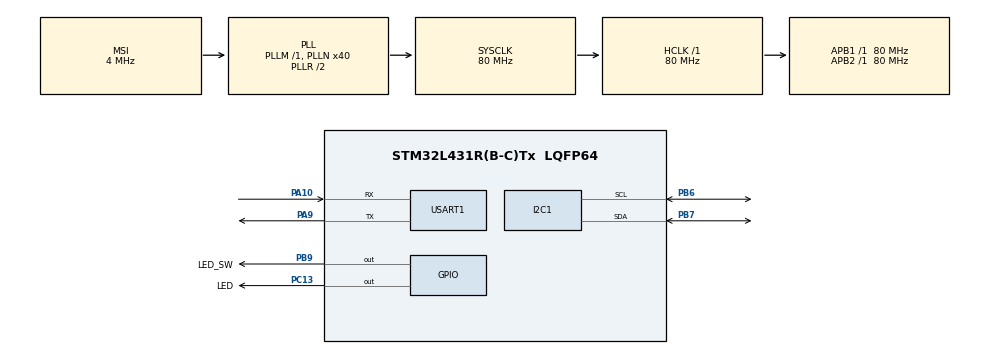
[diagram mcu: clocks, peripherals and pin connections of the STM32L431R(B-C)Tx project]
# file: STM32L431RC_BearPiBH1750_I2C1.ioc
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I2C1.Timing=0x00303D5B
Mcu.Family=STM32L4
Mcu.Name=STM32L431R(B-C)Tx
Mcu.Package=LQFP64
NVIC.PriorityGroup=NVIC_PRIORITYGROUP_4
PA10.Mode=Asynchronous
PA10.Signal=USART1_RX
PA9.Mode=Asynchronous
PA9.Signal=USART1_TX
PB6.Mode=I2C
PB6.Signal=I2C1_SCL
PB7.Mode=I2C
PB7.Signal=I2C1_SDA
PB9.GPIO_Label=LED_SW
PB9.Signal=GPIO_Output
PC13.GPIO_Label=LED
PC13.Signal=GPIO_Output
ProjectManager.HeapSize=0x200
ProjectManager.StackSize=0x400
ProjectManager.TargetToolchain=MDK-ARM V5
RCC.AHBFreq_Value=80000000
RCC.APB1Freq_Value=80000000
RCC.APB1TimFreq_Value=80000000
RCC.APB2Freq_Value=80000000
RCC.APB2TimFreq_Value=80000000
RCC.CortexFreq_Value=80000000
RCC.HCLKFreq_Value=80000000
RCC.HSE_VALUE=8000000
RCC.HSI48_VALUE=48000000
RCC.HSI_VALUE=16000000
RCC.I2C1CLockSelection=RCC_I2C1CLKSOURCE_HSI
RCC.LSE_VALUE=32768
RCC.MSI_VALUE=4000000
RCC.PLLN=40
RCC.SYSCLKFreq_VALUE=80000000
RCC.SYSCLKSource=RCC_SYSCLKSOURCE_PLLCLK
RCC.VCOOutputFreq_Value=160000000
USART1.VirtualMode-Asynchronous=VM_ASYNC
board=custom

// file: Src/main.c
/**
  ******************************************************************************
  * @file           : main.c
  * @brief          : Main program body
  ******************************************************************************
  ** This notice applies to any and all portions of this file
  * that are not between comment pairs USER CODE BEGIN and
  * USER CODE END. Other portions of this file, whether
  * inserted by the user or by software development tools
  * are owned by their respective copyright owners.
  *
  * COPYRIGHT(c) 2019 STMicroelectronics
  *
  * Redistribution and use in source and binary forms, with or without modification,
  * are permitted provided that the following conditions are met:
  *   1. Redistributions of source code must retain the above copyright notice,
  *      this list of conditions and the following disclaimer.
  *   2. Redistributions in binary form must reproduce the above copyright notice,
  *      this list of conditions and the following disclaimer in the documentation
  *      and/or other materials provided with the distribution.
  *   3. Neither the name of STMicroelectronics nor the names of its contributors
  *      may be used to endorse or promote products derived from this software
  *      without specific prior written permission.
  *
  * THIS SOFTWARE IS PROVIDED BY THE COPYRIGHT HOLDERS AND CONTRIBUTORS "AS IS"
  * AND ANY EXPRESS OR IMPLIED WARRANTIES, INCLUDING, BUT NOT LIMITED TO, THE
  * IMPLIED WARRANTIES OF MERCHANTABILITY AND FITNESS FOR A PARTICULAR PURPOSE ARE
  * DISCLAIMED. IN NO EVENT SHALL THE COPYRIGHT HOLDER OR CONTRIBUTORS BE LIABLE
  * FOR ANY DIRECT, INDIRECT, INCIDENTAL, SPECIAL, EXEMPLARY, OR CONSEQUENTIAL
  * DAMAGES (INCLUDING, BUT NOT LIMITED TO, PROCUREMENT OF SUBSTITUTE GOODS OR
  * SERVICES; LOSS OF USE, DATA, OR PROFITS; OR BUSINESS INTERRUPTION) HOWEVER
  * CAUSED AND ON ANY THEORY OF LIABILITY, WHETHER IN CONTRACT, STRICT LIABILITY,
  * OR TORT (INCLUDING NEGLIGENCE OR OTHERWISE) ARISING IN ANY WAY OUT OF THE USE
  * OF THIS SOFTWARE, EVEN IF ADVISED OF THE POSSIBILITY OF SUCH DAMAGE.
  *
  ******************************************************************************
  */
#include "main.h"
#include "stm32l4xx_hal.h"
#include "i2c.h"
#include "usart.h"
#include "gpio.h"

/* USER CODE BEGIN Includes */
#include "stdio.h"
/* USER CODE END Includes */

/* USER CODE BEGIN PV */
/* Private variables ---------------------------------------------------------*/

/* USER CODE END PV */

void SystemClock_Config(void);

/* USER CODE BEGIN PFP */
/* Private function prototypes -----------------------------------------------*/

/* USER CODE END PFP */

/* USER CODE BEGIN 0 */
/*
连续高分辨率模式精度1lux:0x10
连续高分辨率模式2精度0.5lux:0x11
低分辨率模式:0x13
*/

float ReadBH1750(void)
{
	uint8_t temp[1]={0x11};//连续高分辨率模式2
	float lux=0;
	uint8_t ReadData[2]={0};
	HAL_I2C_Master_Transmit(&hi2c1, 0x46, temp, 1, 0xff);
	HAL_Delay(180);
	HAL_I2C_Master_Receive(&hi2c1, 0x47,ReadData, 2, 0xff);
	lux=(float)((ReadData[0]<<8)|ReadData[1]);
	lux=(double)lux/1.2;
	return lux;
}
/* USER CODE END 0 */

int main(void)
{

  /* MCU Configuration----------------------------------------------------------*/

  /* Reset of all peripherals, Initializes the Flash interface and the Systick. */
  HAL_Init();

  /* Configure the system clock */
  SystemClock_Config();

  /* Initialize all configured peripherals */
  MX_GPIO_Init();
  MX_I2C1_Init();
  MX_USART1_UART_Init();

  /* Infinite loop */
  /* USER CODE BEGIN WHILE */
  while (1)
  {
    float lux=ReadBH1750();
    printf("BH1750：%d\r\n",(int)lux);
    if(lux<2||(lux>900&&lux<1100))
      HAL_GPIO_WritePin(LED_SW_GPIO_Port,LED_SW_Pin,GPIO_PIN_SET);
     else
    HAL_GPIO_WritePin(LED_SW_GPIO_Port,LED_SW_Pin,GPIO_PIN_RESET);
		HAL_GPIO_TogglePin(LED_GPIO_Port,LED_Pin);
    HAL_Delay(1000);

  /* USER CODE END WHILE */

  }

}

void SystemClock_Config(void)
{

  RCC_OscInitTypeDef RCC_OscInitStruct;
  RCC_ClkInitTypeDef RCC_ClkInitStruct;
  RCC_PeriphCLKInitTypeDef PeriphClkInit;

    /**Initializes the CPU, AHB and APB busses clocks
    */
  RCC_OscInitStruct.OscillatorType = RCC_OSCILLATORTYPE_HSI|RCC_OSCILLATORTYPE_MSI;
  RCC_OscInitStruct.HSIState = RCC_HSI_ON;
  RCC_OscInitStruct.HSICalibrationValue = 16;
  RCC_OscInitStruct.MSIState = RCC_MSI_ON;
  RCC_OscInitStruct.MSICalibrationValue = 0;
  RCC_OscInitStruct.MSIClockRange = RCC_MSIRANGE_6;
  RCC_OscInitStruct.PLL.PLLState = RCC_PLL_ON;
  RCC_OscInitStruct.PLL.PLLSource = RCC_PLLSOURCE_MSI;
  RCC_OscInitStruct.PLL.PLLM = 1;
  RCC_OscInitStruct.PLL.PLLN = 40;
  RCC_OscInitStruct.PLL.PLLP = RCC_PLLP_DIV7;
  RCC_OscInitStruct.PLL.PLLQ = RCC_PLLQ_DIV2;
  RCC_OscInitStruct.PLL.PLLR = RCC_PLLR_DIV2;
  if (HAL_RCC_OscConfig(&RCC_OscInitStruct) != HAL_OK)
  {
    _Error_Handler(__FILE__, __LINE__);
  }

    /**Initializes the CPU, AHB and APB busses clocks
    */
  RCC_ClkInitStruct.ClockType = RCC_CLOCKTYPE_HCLK|RCC_CLOCKTYPE_SYSCLK
                              |RCC_CLOCKTYPE_PCLK1|RCC_CLOCKTYPE_PCLK2;
  RCC_ClkInitStruct.SYSCLKSource = RCC_SYSCLKSOURCE_PLLCLK;
  RCC_ClkInitStruct.AHBCLKDivider = RCC_SYSCLK_DIV1;
  RCC_ClkInitStruct.APB1CLKDivider = RCC_HCLK_DIV1;
  RCC_ClkInitStruct.APB2CLKDivider = RCC_HCLK_DIV1;

  if (HAL_RCC_ClockConfig(&RCC_ClkInitStruct, FLASH_LATENCY_4) != HAL_OK)
  {
    _Error_Handler(__FILE__, __LINE__);
  }

  PeriphClkInit.PeriphClockSelection = RCC_PERIPHCLK_USART1|RCC_PERIPHCLK_I2C1;
  PeriphClkInit.Usart1ClockSelection = RCC_USART1CLKSOURCE_PCLK2;
  PeriphClkInit.I2c1ClockSelection = RCC_I2C1CLKSOURCE_HSI;
  if (HAL_RCCEx_PeriphCLKConfig(&PeriphClkInit) != HAL_OK)
  {
    _Error_Handler(__FILE__, __LINE__);
  }

    /**Configure the main internal regulator output voltage
    */
  if (HAL_PWREx_ControlVoltageScaling(PWR_REGULATOR_VOLTAGE_SCALE1) != HAL_OK)
  {
    _Error_Handler(__FILE__, __LINE__);
  }

    /**Configure the Systick interrupt time
    */
  HAL_SYSTICK_Config(HAL_RCC_GetHCLKFreq()/1000);

    /**Configure the Systick
    */
  HAL_SYSTICK_CLKSourceConfig(SYSTICK_CLKSOURCE_HCLK);

  /* SysTick_IRQn interrupt configuration */
  HAL_NVIC_SetPriority(SysTick_IRQn, 0, 0);
}

void _Error_Handler(char *file, int line)
{
  while(1)
  {
  }
}

/************************ (C) COPYRIGHT STMicroelectronics *****END OF FILE****/
